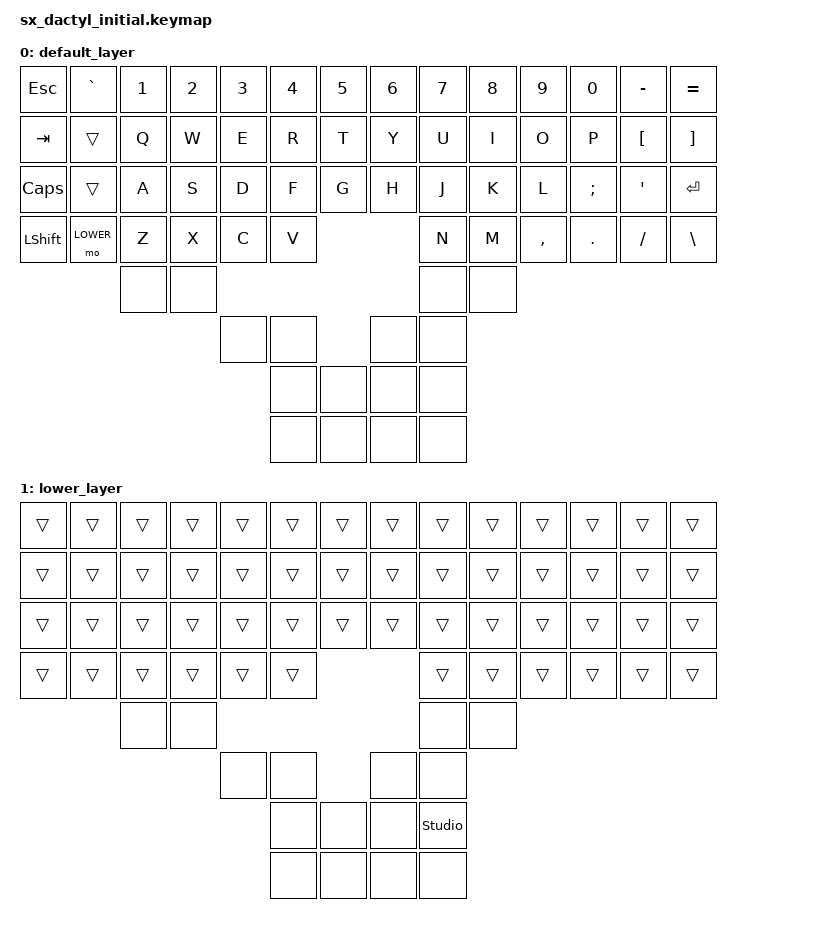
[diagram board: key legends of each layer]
#include <behaviors.dtsi>
#include <dt-bindings/zmk/keys.h>
#include <dt-bindings/zmk/bt.h>

// Define Layer Indexes
#define DEFAULT 0
#define LOWER   1

/ {
    keymap {
        compatible = "zmk,keymap";

        default_layer {
            bindings = <
// ---------------------------------------------------------------------------------------------------------------------------------
// | ESC  |  `   |  1  |  2  |  3  |  4  |  5  |   |  6  |  7  |  8  |  9  |  0  |  -  |  =  |
// | TAB  | TRANS|  Q  |  W  |  E  |  R  |  T  |   |  Y  |  U  |  I  |  O  |  P  |  [  |  ]  |
// | CAPS | TRANS|  A  |  S  |  D  |  F  |  G  |   |  H  |  J  |  K  |  L  |  ;  |  '  | ENT |
// | SHFT | MO(1)|  Z  |  X  |  C  |  V  |           |  N  |  M  |  ,  |  .  |  /  |  \  |

    &kp ESC    &kp GRAVE  &kp N1    &kp N2    &kp N3    &kp N4    &kp N5       &kp N6    &kp N7    &kp N8    &kp N9    &kp N0    &kp MINUS &kp EQUAL
    &kp TAB    &trans     &kp Q     &kp W     &kp E     &kp R     &kp T        &kp Y     &kp U     &kp I     &kp O     &kp P     &kp LBKT  &kp RBKT
    &kp CLCK   &trans     &kp A     &kp S     &kp D     &kp F     &kp G        &kp H     &kp J     &kp K     &kp L     &kp SEMI  &kp SQT   &kp RET
    &kp LSHFT  &mo LOWER  &kp Z     &kp X     &kp C     &kp V                            &kp N     &kp M     &kp COMMA &kp DOT   &kp FSLH  &kp BSLH
                          &none     &none                                                &none     &none
                                              &none     &none                  &none     &none
                                                        &none     &none        &none     &none
                                                        &none     &none        &none     &none
            >;
        };

        lower_layer {
            bindings = <
// ---------------------------------------------------------------------------------------------------------------------------------
// On this layer, most keys are 'trans' (inherit from Layer 0), except the Studio Unlock key
    &trans     &trans     &trans    &trans    &trans    &trans    &trans       &trans    &trans    &trans    &trans    &trans    &trans    &trans
    &trans     &trans     &trans    &trans    &trans    &trans    &trans       &trans    &trans    &trans    &trans    &trans    &trans    &trans
    &trans     &trans     &trans    &trans    &trans    &trans    &trans       &trans    &trans    &trans    &trans    &trans    &trans    &trans
    &trans     &trans     &trans    &trans    &trans    &trans                           &trans    &trans    &trans    &trans    &trans    &trans
                          &none     &none                                                &none     &none
                                              &none     &none                  &none     &none
                                                        &none     &none        &none     &studio_unlock
                                                        &none     &none        &none     &none
            >;
        };
    };
};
